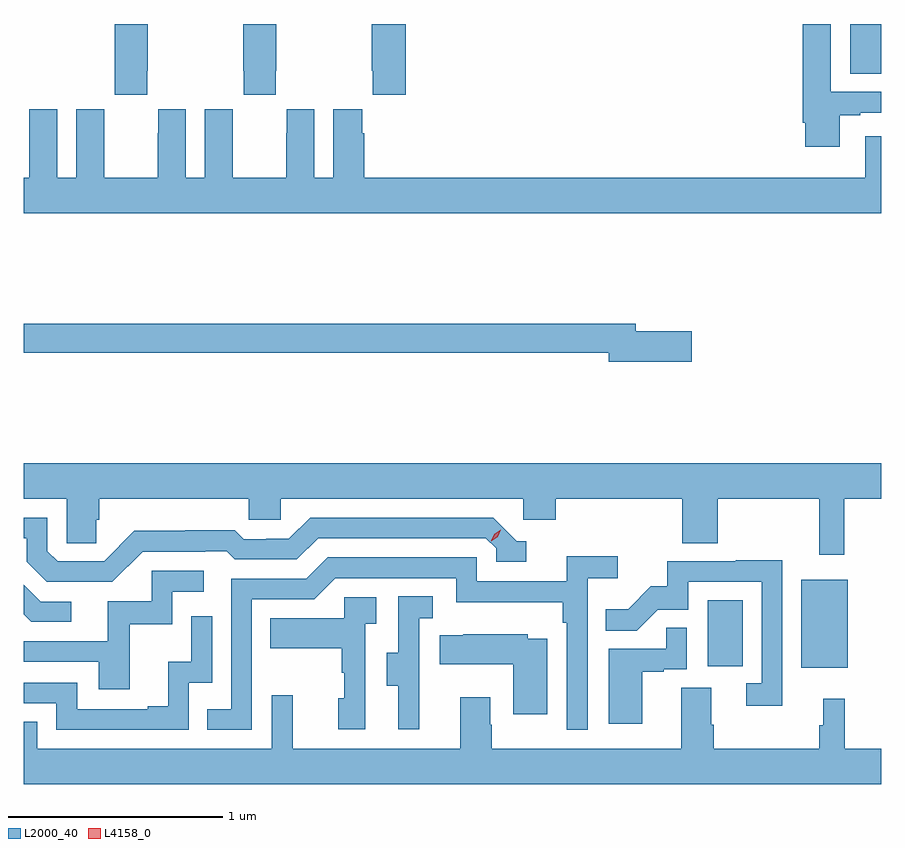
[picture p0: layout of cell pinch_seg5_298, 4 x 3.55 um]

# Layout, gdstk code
import gdstk
lib = gdstk.Library(unit=1e-6, precision=1e-09)
def R(c, l, rs):  # rectangles x0, y0, x1, y1
    for r in rs: c.add(gdstk.rectangle(r[:2], r[2:], *l))
def P(c, l, *ps):  # polygons
    for p in ps: c.add(gdstk.Polygon(p, *l))
L2000_40 = (2000, 40)
L4158_0 = (4158, 0)

pinch_seg5_298 = lib.new_cell('pinch_seg5_298')
R(pinch_seg5_298, L2000_40, [(905.06,878.615,905.275,879.025), (904.622,878.622,904.786,878.929), (905.288,881.386,905.432,881.618)])
P(pinch_seg5_298, L2000_40, [(905.239,881.193),(905.335,881.193),(905.335,881.205),(905.432,881.205),(905.432,881.301),(905.197,881.301),(905.197,881.618),(905.066,881.618),(905.066,881.158),(905.078,881.158),(905.078,881.046),(905.239,881.046)],
  [(903.215,881.618),(903.055,881.618),(903.055,881.401),(903.061,881.401),(903.061,881.289),(903.215,881.289)],
  [(902.607,881.401),(902.61,881.401),(902.61,881.618),(902.455,881.618),(902.455,881.401),(902.457,881.401),(902.457,881.289),(902.607,881.289)],
  [(902.007,881.401),(902.01,881.401),(902.01,881.618),(901.855,881.618),(901.855,881.401),(901.857,881.401),(901.857,881.289),(902.007,881.289)],
  [(905.432,881.095),(905.357,881.095),(905.357,880.9),(903.02,880.9),(903.02,881.108),(903.01,881.108),(903.01,881.221),(902.876,881.221),(902.876,880.9),(902.788,880.9),(902.788,881.221),(902.658,881.221),(902.658,881.108),(902.657,881.108),(902.657,880.9),(902.407,880.9),(902.407,881.108),(902.406,881.108),(902.406,881.221),(902.276,881.221),(902.276,880.9),(902.188,880.9),(902.188,881.221),(902.058,881.221),(902.058,881.108),(902.057,881.108),(902.057,880.9),(901.807,880.9),(901.807,881.108),(901.806,881.108),(901.806,881.221),(901.676,881.221),(901.676,880.9),(901.588,880.9),(901.588,881.221),(901.458,881.221),(901.458,881.108),(901.457,881.108),(901.457,880.9),(901.432,880.9),(901.432,880.736),(905.432,880.736)],
  [(904.549,880.184),(904.288,880.184),(904.288,880.22),(901.432,880.22),(901.432,880.084),(904.16,880.084),(904.16,880.042),(904.549,880.042)],
  [(905.26,879.404),(905.432,879.404),(905.432,879.568),(901.432,879.568),(901.432,879.404),(901.632,879.404),(901.632,879.196),(901.769,879.196),(901.769,879.306),(901.784,879.306),(901.784,879.404),(902.481,879.404),(902.481,879.306),(902.631,879.306),(902.631,879.404),(903.762,879.404),(903.762,879.306),(903.914,879.306),(903.914,879.404),(904.505,879.404),(904.505,879.196),(904.67,879.196),(904.67,879.404),(905.143,879.404),(905.143,879.141),(905.26,879.141)],
  [(901.986,879.156),(902.279,879.156),(902.279,879.159),(902.378,879.159),(902.417,879.12),(902.706,879.12),(902.805,879.219),(903.588,879.219),(903.636,879.171),(903.636,879.108),(903.775,879.108),(903.775,879.204),(903.732,879.204),(903.621,879.315),(902.768,879.315),(902.669,879.216),(902.562,879.216),(902.562,879.213),(902.459,879.213),(902.417,879.256),(902.184,879.256),(902.184,879.253),(901.948,879.253),(901.806,879.111),(901.59,879.111),(901.542,879.159),(901.542,879.315),(901.432,879.315),(901.432,879.219),(901.445,879.219),(901.445,879.109),(901.539,879.015),(901.845,879.015)],
  [(902.496,878.934),(902.787,878.934),(902.886,879.033),(903.45,879.033),(903.45,878.921),(903.946,878.921),(903.946,878.825),(903.966,878.825),(903.966,878.325),(904.062,878.325),(904.062,879.032),(904.204,879.032),(904.204,879.134),(903.965,879.134),(903.965,879.018),(903.546,879.018),(903.546,879.129),(902.849,879.129),(902.75,879.03),(902.4,879.03),(902.4,878.421),(902.287,878.421),(902.287,878.325),(902.496,878.325)],
  [(904.971,879.116),(904.753,879.116),(904.753,879.111),(904.435,879.111),(904.435,878.994),(904.358,878.994),(904.251,878.887),(904.147,878.887),(904.147,878.788),(904.291,878.788),(904.389,878.886),(904.533,878.886),(904.533,879.015),(904.875,879.015),(904.875,878.541),(904.803,878.541),(904.803,878.436),(904.971,878.436)],
  [(901.925,878.817),(902.124,878.817),(902.124,878.97),(902.272,878.97),(902.272,879.066),(902.028,879.066),(902.028,878.925),(901.823,878.925),(901.823,878.739),(901.432,878.739),(901.432,878.643),(901.781,878.643),(901.781,878.514),(901.925,878.514)],
  [(901.654,878.922),(901.512,878.922),(901.432,879.002),(901.432,878.863),(901.466,878.829),(901.654,878.829)],
  [(903.278,878.541),(903.276,878.541),(903.276,878.845),(903.34,878.845),(903.34,878.948),(903.18,878.948),(903.18,878.685),(903.125,878.685),(903.125,878.53),(903.179,878.53),(903.179,878.328),(903.278,878.328)],
  [(903.024,878.819),(903.076,878.819),(903.076,878.943),(902.928,878.943),(902.928,878.845),(902.581,878.845),(902.581,878.705),(902.916,878.705),(902.916,878.591),(902.926,878.591),(902.926,878.472),(902.9,878.472),(902.9,878.328),(903.024,878.328)],
  [(902.202,878.544),(902.31,878.544),(902.31,878.854),(902.214,878.854),(902.214,878.642),(902.105,878.642),(902.105,878.434),(902.009,878.434),(902.009,878.421),(901.68,878.421),(901.68,878.544),(901.432,878.544),(901.432,878.448),(901.584,878.448),(901.584,878.325),(902.202,878.325)],
  [(904.318,878.595),(904.418,878.595),(904.418,878.607),(904.524,878.607),(904.524,878.801),(904.429,878.801),(904.429,878.703),(904.16,878.703),(904.16,878.352),(904.318,878.352)],
  [(903.874,878.749),(903.783,878.749),(903.783,878.77),(903.481,878.77),(903.481,878.767),(903.373,878.767),(903.373,878.63),(903.716,878.63),(903.716,878.397),(903.874,878.397)],
  [(905.432,878.236),(905.261,878.236),(905.261,878.47),(905.162,878.47),(905.162,878.345),(905.143,878.345),(905.143,878.236),(904.652,878.236),(904.652,878.348),(904.639,878.348),(904.639,878.522),(904.499,878.522),(904.499,878.236),(903.615,878.236),(903.615,878.348),(903.607,878.348),(903.607,878.476),(903.467,878.476),(903.467,878.236),(902.687,878.236),(902.687,878.485),(902.589,878.485),(902.589,878.236),(901.494,878.236),(901.494,878.363),(901.432,878.363),(901.432,878.072),(905.432,878.072)])
P(pinch_seg5_298, L4158_0, [(903.612,879.205),(903.612,879.206),(903.627,879.238),(903.657,879.258),(903.658,879.258),(903.658,879.258),(903.642,879.225),(903.612,879.205)])

lib.write_gds('pinch_seg5_298.gds')
